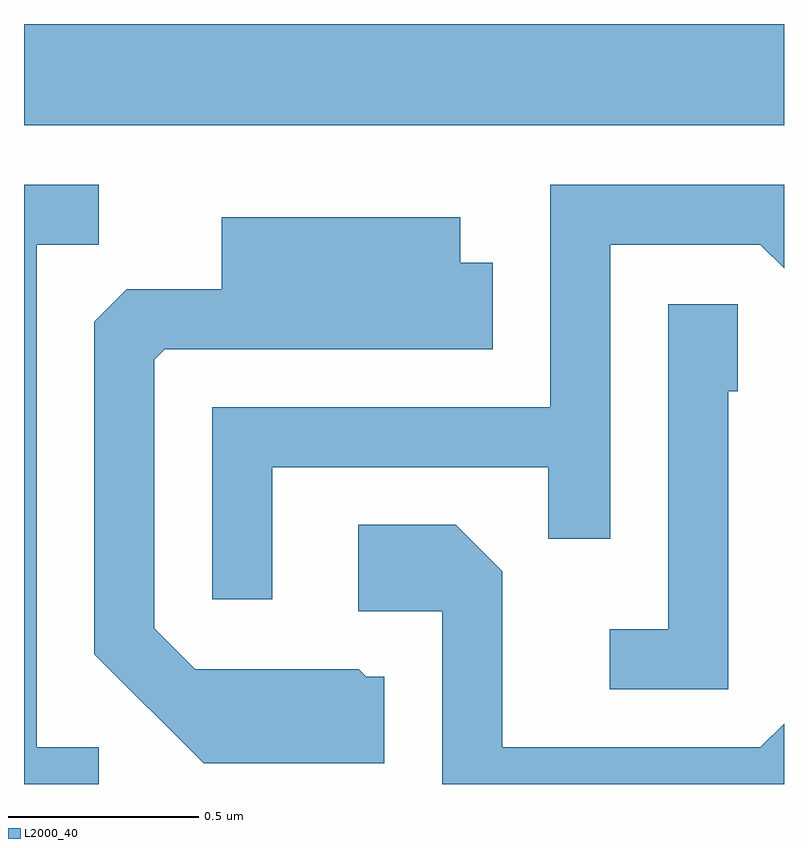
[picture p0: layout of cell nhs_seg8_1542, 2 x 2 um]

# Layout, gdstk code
import gdstk
lib = gdstk.Library(unit=1e-6, precision=1e-09)
def R(c, l, rs):  # rectangles x0, y0, x1, y1
    for r in rs: c.add(gdstk.rectangle(r[:2], r[2:], *l))
def P(c, l, *ps):  # polygons
    for p in ps: c.add(gdstk.Polygon(p, *l))
L2000_40 = (2000, 40)

nhs_seg8_1542 = lib.new_cell('nhs_seg8_1542')
R(nhs_seg8_1542, L2000_40, [(196.611,1843.076,198.611,1843.342)])
P(nhs_seg8_1542, L2000_40, [(197.264,1842.176),(197.991,1842.176),(197.991,1841.988),(198.154,1841.988),(198.154,1842.761),(198.549,1842.761),(198.611,1842.699),(198.611,1842.919),(197.996,1842.919),(197.996,1842.334),(197.106,1842.334),(197.106,1841.828),(197.264,1841.828)],
  [(196.808,1841.439),(196.644,1841.439),(196.644,1842.761),(196.808,1842.761),(196.808,1842.919),(196.611,1842.919),(196.611,1841.342),(196.808,1841.342)],
  [(197.559,1841.624),(197.512,1841.624),(197.492,1841.644),(197.062,1841.644),(196.954,1841.752),(196.954,1842.459),(196.982,1842.486),(197.844,1842.486),(197.844,1842.714),(197.759,1842.714),(197.759,1842.834),(197.131,1842.834),(197.131,1842.644),(196.882,1842.644),(196.796,1842.559),(196.796,1841.684),(197.084,1841.396),(197.559,1841.396)],
  [(198.464,1842.376),(198.489,1842.376),(198.489,1842.604),(198.306,1842.604),(198.306,1841.749),(198.153,1841.749),(198.153,1841.591),(198.464,1841.591)],
  [(198.611,1841.501),(198.549,1841.439),(197.869,1841.439),(197.869,1841.902),(197.747,1842.024),(197.491,1842.024),(197.491,1841.796),(197.711,1841.796),(197.711,1841.342),(198.611,1841.342)])

lib.write_gds('nhs_seg8_1542.gds')
